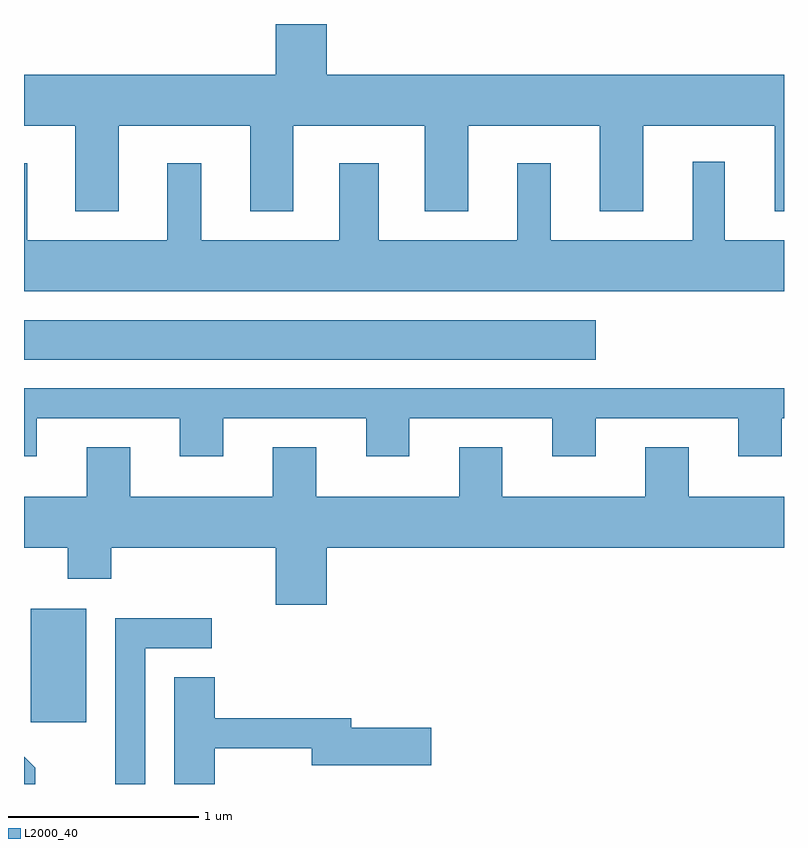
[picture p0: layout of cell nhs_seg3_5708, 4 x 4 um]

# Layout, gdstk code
import gdstk
lib = gdstk.Library(unit=1e-6, precision=1e-09)
def R(c, l, rs):  # rectangles x0, y0, x1, y1
    for r in rs: c.add(gdstk.rectangle(r[:2], r[2:], *l))
def P(c, l, *ps):  # polygons
    for p in ps: c.add(gdstk.Polygon(p, *l))
L2000_40 = (2000, 40)

nhs_seg3_5708 = lib.new_cell('nhs_seg3_5708')
R(nhs_seg3_5708, L2000_40, [(353.646,1116.216,353.939,1116.814), (353.611,1118.126,356.619,1118.334)])
P(nhs_seg3_5708, L2000_40, [(354.109,1119.356),(354.801,1119.356),(354.801,1118.906),(355.029,1118.906),(355.029,1119.356),(355.721,1119.356),(355.721,1118.906),(355.949,1118.906),(355.949,1119.356),(356.641,1119.356),(356.641,1118.906),(356.869,1118.906),(356.869,1119.356),(357.561,1119.356),(357.561,1118.906),(357.611,1118.906),(357.611,1119.624),(355.204,1119.624),(355.204,1119.892),(354.936,1119.892),(354.936,1119.624),(353.611,1119.624),(353.611,1119.356),(353.881,1119.356),(353.881,1118.906),(354.109,1118.906)],
  [(357.611,1118.754),(357.299,1118.754),(357.299,1119.168),(357.131,1119.168),(357.131,1118.754),(356.384,1118.754),(356.384,1119.159),(356.206,1119.159),(356.206,1118.754),(355.479,1118.754),(355.479,1119.159),(355.271,1119.159),(355.271,1118.754),(354.544,1118.754),(354.544,1119.159),(354.366,1119.159),(354.366,1118.754),(353.629,1118.754),(353.629,1119.159),(353.611,1119.159),(353.611,1118.486),(357.611,1118.486)],
  [(353.679,1117.816),(354.431,1117.816),(354.431,1117.616),(354.659,1117.616),(354.659,1117.816),(355.411,1117.816),(355.411,1117.616),(355.639,1117.616),(355.639,1117.816),(356.391,1117.816),(356.391,1117.616),(356.619,1117.616),(356.619,1117.816),(357.371,1117.816),(357.371,1117.616),(357.599,1117.616),(357.599,1117.816),(357.611,1117.816),(357.611,1117.974),(353.611,1117.974),(353.611,1117.616),(353.679,1117.616)],
  [(355.204,1117.136),(357.611,1117.136),(357.611,1117.404),(357.109,1117.404),(357.109,1117.664),(356.881,1117.664),(356.881,1117.404),(356.129,1117.404),(356.129,1117.664),(355.901,1117.664),(355.901,1117.404),(355.149,1117.404),(355.149,1117.664),(354.921,1117.664),(354.921,1117.404),(354.169,1117.404),(354.169,1117.664),(353.941,1117.664),(353.941,1117.404),(353.611,1117.404),(353.611,1117.136),(353.841,1117.136),(353.841,1116.971),(354.069,1116.971),(354.069,1117.136),(354.936,1117.136),(354.936,1116.836),(355.204,1116.836)],
  [(354.249,1116.606),(354.598,1116.606),(354.598,1116.764),(354.091,1116.764),(354.091,1115.892),(354.249,1115.892)],
  [(354.614,1116.081),(355.126,1116.081),(355.126,1115.991),(355.754,1115.991),(355.754,1116.189),(355.334,1116.189),(355.334,1116.239),(354.614,1116.239),(354.614,1116.454),(354.401,1116.454),(354.401,1115.892),(354.614,1115.892)],
  [(353.669,1115.977),(353.611,1116.035),(353.611,1115.892),(353.669,1115.892)])

lib.write_gds('nhs_seg3_5708.gds')
